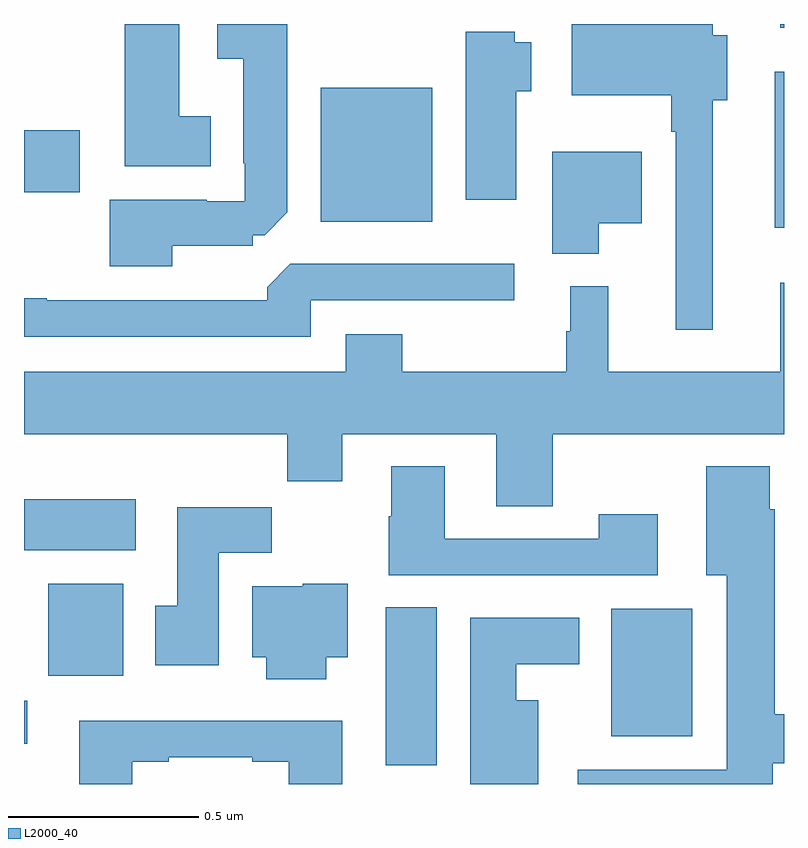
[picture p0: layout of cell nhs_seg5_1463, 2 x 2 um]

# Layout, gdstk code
import gdstk
lib = gdstk.Library(unit=1e-6, precision=1e-09)
def R(c, l, rs):  # rectangles x0, y0, x1, y1
    for r in rs: c.add(gdstk.rectangle(r[:2], r[2:], *l))
def P(c, l, *ps):  # polygons
    for p in ps: c.add(gdstk.Polygon(p, *l))
L2000_40 = (2000, 40)

nhs_seg5_1463 = lib.new_cell('nhs_seg5_1463')
R(nhs_seg5_1463, L2000_40, [(130.952,895.849,131.086,896.264), (130,895.905,130.009,896.018), (131.546,895.925,131.758,896.26), (130.064,896.084,130.261,896.326), (130,896.414,130.294,896.548), (131.975,897.263,132,897.673), (130.781,897.278,131.074,897.631), (130,897.356,130.147,897.519), (131.99,897.789,132,897.799)])
P(nhs_seg5_1463, L2000_40, [(130.492,897.556),(130.408,897.556),(130.408,897.799),(130.265,897.799),(130.265,897.425),(130.492,897.425)],
  [(130.39,897.215),(130.602,897.215),(130.602,897.243),(130.633,897.243),(130.693,897.303),(130.693,897.799),(130.508,897.799),(130.508,897.707),(130.577,897.707),(130.577,897.433),(130.581,897.433),(130.581,897.333),(130.481,897.333),(130.481,897.337),(130.226,897.337),(130.226,897.161),(130.39,897.161)],
  [(131.812,897.599),(131.851,897.599),(131.851,897.769),(131.812,897.769),(131.812,897.799),(131.442,897.799),(131.442,897.611),(131.703,897.611),(131.703,897.515),(131.715,897.515),(131.715,896.994),(131.812,896.994)],
  [(131.296,897.622),(131.335,897.622),(131.335,897.751),(131.292,897.751),(131.292,897.778),(131.162,897.778),(131.162,897.336),(131.296,897.336)],
  [(131.512,897.275),(131.626,897.275),(131.626,897.463),(131.39,897.463),(131.39,897.194),(131.512,897.194)],
  [(130.755,897.072),(131.29,897.072),(131.29,897.168),(130.701,897.168),(130.64,897.106),(130.64,897.072),(130.06,897.072),(130.06,897.077),(130,897.077),(130,896.976),(130.755,896.976)],
  [(131.391,896.72),(132,896.72),(132,897.118),(131.99,897.118),(131.99,896.884),(131.537,896.884),(131.537,897.109),(131.438,897.109),(131.438,896.991),(131.427,896.991),(131.427,896.884),(130.995,896.884),(130.995,896.983),(130.847,896.983),(130.847,896.884),(130,896.884),(130,896.72),(130.693,896.72),(130.693,896.596),(130.837,896.596),(130.837,896.72),(131.243,896.72),(131.243,896.53),(131.391,896.53)],
  [(131.97,895.854),(132,895.854),(132,895.982),(131.975,895.982),(131.975,896.522),(131.962,896.522),(131.962,896.635),(131.795,896.635),(131.795,896.348),(131.849,896.348),(131.849,895.836),(131.457,895.836),(131.457,895.799),(131.97,895.799)],
  [(131.668,896.509),(131.512,896.509),(131.512,896.445),(131.107,896.445),(131.107,896.635),(130.967,896.635),(130.967,896.504),(130.96,896.504),(130.96,896.349),(131.668,896.349)],
  [(130.513,896.408),(130.652,896.408),(130.652,896.527),(130.403,896.527),(130.403,896.268),(130.346,896.268),(130.346,896.112),(130.513,896.112)],
  [(130.795,896.132),(130.852,896.132),(130.852,896.326),(130.734,896.326),(130.734,896.32),(130.601,896.32),(130.601,896.132),(130.637,896.132),(130.637,896.075),(130.795,896.075)],
  [(131.353,896.02),(131.296,896.02),(131.296,896.114),(131.461,896.114),(131.461,896.236),(131.174,896.236),(131.174,895.799),(131.353,895.799)],
  [(130.285,895.857),(130.381,895.857),(130.381,895.869),(130.601,895.869),(130.601,895.857),(130.697,895.857),(130.697,895.799),(130.837,895.799),(130.837,895.966),(130.145,895.966),(130.145,895.799),(130.285,895.799)])

lib.write_gds('nhs_seg5_1463.gds')
